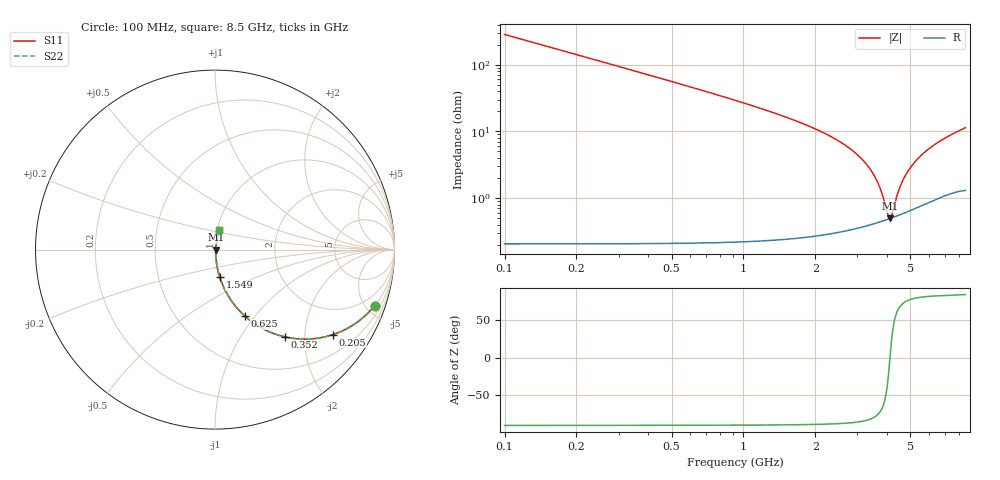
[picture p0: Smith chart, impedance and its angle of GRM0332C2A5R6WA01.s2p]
!Murata Part Number: GRM0332C2A5R6WA01
!These Parameters are Measured in Series Mode Connection
!Data Generated on Mar 30, 2021
!  o--ll--o
!Port1  Port2
!  o------o
!Operation Temp=25[degC], DC Bias Voltage=0[V]
!Freq. Start=100[MHz] Stop=9[GHz] 401[Steps]
# Hz S RI R 50
!Freq.(Hz) S11(Real) S11(Imag) S21(Real) S21(Imag) S12(Real) S12(Imag) S22(Real) S22(Imag)
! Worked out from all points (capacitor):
!   401 points, 100 MHz to 8.5 GHz, reference 50 ohm
!   read as one part in series: C = 5.6 pF near 142 MHz
!   lowest |Z| = 494 mohm at 4.111 GHz (marker M1)
!   series resonance near 4.109 GHz, so ESL is about 270 pH
!   S11 on the Smith chart (normalised r, x): 100 MHz: 1.00, -5.68; 205 MHz: 1.00, -2.77; 352 MHz: 1.00, -1.60; 625 MHz: 1.00, -0.89; 1.549 GHz: 1.00, -0.32; 8.5 GHz: 1.03, +0.23
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1e8  0.8895 -0.3131  0.1105 0.3131  0.1105 0.3131  0.8895 -0.3131
2.05e8  0.6564 -0.4742  0.3436 0.4742  0.3436 0.4742  0.6564 -0.4742
3.52e8  0.3914 -0.4868  0.6086 0.4868  0.6086 0.4868  0.3914 -0.4868
4.78e8  0.2568 -0.4351  0.7432 0.4351  0.7432 0.4351  0.2568 -0.4351
6.25e8  0.1661 -0.3698  0.8339 0.3698  0.8339 0.3698  0.1661 -0.3698
9.61e8  0.0743 -0.2584  0.9257 0.2584  0.9257 0.2584  0.0743 -0.2584
1.507e9  0.0283 -0.1585  0.9717 0.1585  0.9717 0.1585  0.0283 -0.1585
1.549e9  0.0265 -0.1532  0.9735 0.1532  0.9735 0.1532  0.0265 -0.1532
2.914e9  0.00577 -0.0484  0.9942 0.0484  0.9942 0.0484  0.00577 -0.0484
3.271e9  0.00482 -0.0318  0.9952 0.0318  0.9952 0.0318  0.00482 -0.0318
3.565e9  0.00454 -0.0197  0.9955 0.0197  0.9955 0.0197  0.00454 -0.0197
3.796e9  0.00458 -0.011  0.9954 0.011  0.9954 0.011  0.00458 -0.011
4.027e9  0.00479 -0.00278  0.9952 0.00278  0.9952 0.00278  0.00479 -0.00278
4.111e9  0.00491 8.08e-05  0.9951 -8.08e-05  0.9951 -8.08e-05  0.00491 8.08e-05
4.174e9  0.00501 0.00219  0.995 -0.00219  0.995 -0.00219  0.00501 0.00219
4.3e9  0.00525 0.00632  0.9948 -0.00632  0.9948 -0.00632  0.00525 0.00632
4.531e9  0.00578 0.0136  0.9942 -0.0136  0.9942 -0.0136  0.00578 0.0136
4.825e9  0.00662 0.0224  0.9934 -0.0224  0.9934 -0.0224  0.00662 0.0224
5.203e9  0.00795 0.0331  0.992 -0.0331  0.992 -0.0331  0.00795 0.0331
5.707e9  0.0101 0.0463  0.9899 -0.0463  0.9899 -0.0463  0.0101 0.0463
7.114e9  0.0174 0.0792  0.9826 -0.0792  0.9826 -0.0792  0.0174 0.0792
8.5e9  0.025 0.1086  0.975 -0.1086  0.975 -0.1086  0.025 0.1086
